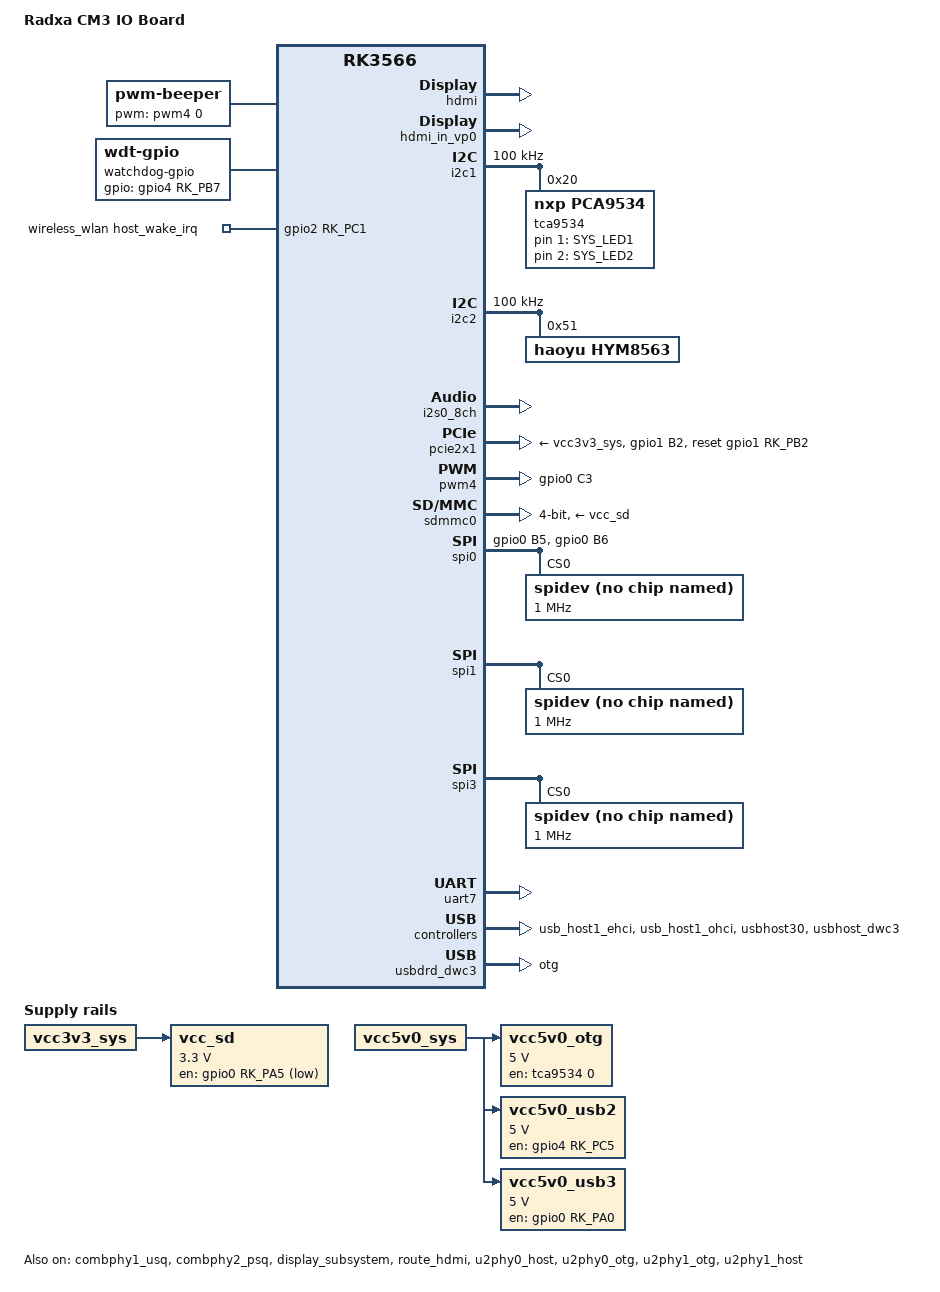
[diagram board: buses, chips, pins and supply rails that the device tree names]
// SPDX-License-Identifier: (GPL-2.0+ OR MIT)
/*
 * Copyright (c) 2024 Rockchip Electronics Co., Ltd.
 * Copyright (c) 2025 Radxa Computer (Shenzhen) Co., Ltd.
 *
 * Custom carrier for an unmodified Radxa CM3, pin requirements revision 2.
 * GPIO0_B1/B2 are the module's PMIC I2C bus and GPIO0_A2 is PMIC_SLEEP.
 * OTG VBUS enable and SYS_LED1/2 are wired to TCA9534 P0/P1/P2 on I2C1.
 */

/dts-v1/;

#include "rk3566-radxa-cm3.dtsi"

/delete-node/ &gpio_leds;
/delete-node/ &user_led_set;

/ {
	model = "Radxa CM3 IO Board";
	compatible = "radxa,cm3-io", "radxa,cm3", "rockchip,rk3566";

	aliases {
		rtc0 = &hym8563;
	};

	beeper {
		compatible = "pwm-beeper";
		pwms = <&pwm4 0 500000 0>;
	};

	hdmi_sound: hdmi-sound {
		compatible = "rockchip,hdmi";
		rockchip,mclk-fs = <128>;
		rockchip,card-name = "rockchip-hdmi";
		rockchip,cpu = <&i2s0_8ch>;
		rockchip,codec = <&hdmi>;
		rockchip,jack-det;
	};

	leds {
		compatible = "gpio-leds";

		led-1 {
			label = "SYS_LED1";
			gpios = <&tca9534 1 GPIO_ACTIVE_HIGH>;
			default-state = "off";
		};

		led-2 {
			label = "SYS_LED2";
			gpios = <&tca9534 2 GPIO_ACTIVE_HIGH>;
			default-state = "off";
		};
	};

	/* SD power switch polarity follows the supplied RC119 reference. */
	vcc_sd: sdmmc-regulator {
		compatible = "regulator-fixed";
		gpio = <&gpio0 RK_PA5 GPIO_ACTIVE_LOW>;
		pinctrl-names = "default";
		pinctrl-0 = <&sdmmc_pwren>;
		regulator-name = "vcc_sd";
		regulator-min-microvolt = <3300000>;
		regulator-max-microvolt = <3300000>;
		startup-delay-us = <100000>;
		vin-supply = <&vcc3v3_sys>;
	};

	vcc5v0_otg: vcc5v0-otg-regulator {
		compatible = "regulator-fixed";
		enable-active-high;
		gpio = <&tca9534 0 GPIO_ACTIVE_HIGH>;
		regulator-name = "vcc5v0_otg";
		regulator-min-microvolt = <5000000>;
		regulator-max-microvolt = <5000000>;
		vin-supply = <&vcc5v0_sys>;
	};

	vcc5v0_usb2: vcc5v0-usb2-regulator {
		compatible = "regulator-fixed";
		enable-active-high;
		gpio = <&gpio4 RK_PC5 GPIO_ACTIVE_HIGH>;
		pinctrl-names = "default";
		pinctrl-0 = <&usb2_power_en>;
		regulator-name = "vcc5v0_usb2";
		regulator-min-microvolt = <5000000>;
		regulator-max-microvolt = <5000000>;
		vin-supply = <&vcc5v0_sys>;
	};

	vcc5v0_usb3: vcc5v0-usb3-regulator {
		compatible = "regulator-fixed";
		enable-active-high;
		gpio = <&gpio0 RK_PA0 GPIO_ACTIVE_HIGH>;
		pinctrl-names = "default";
		pinctrl-0 = <&usb3_power_en>;
		regulator-name = "vcc5v0_usb3";
		regulator-min-microvolt = <5000000>;
		regulator-max-microvolt = <5000000>;
		vin-supply = <&vcc5v0_sys>;
	};

	watchdog-gpio {
		compatible = "linux,wdt-gpio";
		gpios = <&gpio4 RK_PB7 GPIO_ACTIVE_HIGH>;
		pinctrl-names = "default";
		pinctrl-0 = <&watchdog_pin>;
		hw_algo = "toggle";
		hw_margin_ms = <1000>;
		timeout-sec = <1>;
		/* Keep servicing WDI even when no userspace client is open. */
		always-running;
	};

	wireless_wlan: wireless-wlan {
		compatible = "wlan-platdata";
		rockchip,grf = <&grf>;
		wifi_chip_type = "cm256sm";
		pinctrl-names = "default";
		pinctrl-0 = <&wifi_host_wake_l>;
		WIFI,host_wake_irq = <&gpio2 RK_PC1 IRQ_TYPE_LEVEL_HIGH>;
		status = "okay";
	};
};

&combphy1_usq {
	status = "okay";
};

&combphy2_psq {
	status = "okay";
};

&display_subsystem {
	status = "okay";
};

&hdmi {
	preset_max_hdisplay = <1920>;
	preset_max_vdisplay = <1080>;
	preset_as_preferred;
	status = "okay";
};

&hdmi_in_vp0 {
	status = "okay";
};

&hdmi_in_vp1 {
	status = "disabled";
};

&i2c1 {
	clock-frequency = <100000>;
	pinctrl-names = "default";
	pinctrl-0 = <&i2c1_xfer>;
	status = "okay";

	tca9534: gpio@20 {
		/* TCA9534 uses the PCA9534 register layout. */
		compatible = "nxp,pca9534";
		reg = <0x20>;
		gpio-controller;
		#gpio-cells = <2>;
		gpio-line-names = "TCA9534_P0", "TCA9534_P1",
				  "TCA9534_P2", "TCA9534_P3",
				  "TCA9534_P4", "TCA9534_P5",
				  "TCA9534_P6", "TCA9534_P7";
		status = "okay";
	};
};

&i2c2 {
	clock-frequency = <100000>;
	pinctrl-names = "default";
	pinctrl-0 = <&i2c2m1_xfer>;
	status = "okay";

	hym8563: rtc@51 {
		compatible = "haoyu,hym8563";
		reg = <0x51>;
		#clock-cells = <0>;
		clock-output-names = "hym8563";
		/* INT is wired to PWRON_KEY, not a SoC interrupt input. */
	};

	/* ATECC608A at 0x60 is accessed by userspace through /dev/i2c-2. */
};

&i2s0_8ch {
	status = "okay";
};

&i2s1_8ch {
	status = "disabled";
};

&pcie2x1 {
	/* This BSP drives logical 0 to assert PERST# and 1 to release it. */
	reset-gpios = <&gpio1 RK_PB2 GPIO_ACTIVE_HIGH>;
	vpcie3v3-supply = <&vcc3v3_sys>;
	pinctrl-names = "default";
	pinctrl-0 = <&pcie_reset_pin>;
	/* CLKREQ# and WAKE# remain GPIO inputs; do not enable supports-clkreq. */
	status = "okay";
};

&pwm4 {
	pinctrl-names = "default", "active";
	pinctrl-0 = <&beeper_idle>;
	pinctrl-1 = <&pwm4_pins>;
	status = "okay";
};

&rk817 {
	rtc {
		status = "disabled";
	};
};

&rk817_codec {
	status = "disabled";
};

&route_hdmi {
	connect = <&vp0_out_hdmi>;
	status = "okay";
};

&sdmmc0 {
	max-frequency = <150000000>;
	supports-sd;
	bus-width = <4>;
	cap-mmc-highspeed;
	cap-sd-highspeed;
	disable-wp;
	sd-uhs-sdr104;
	vmmc-supply = <&vcc_sd>;
	vqmmc-supply = <&vccio_sd>;
	pinctrl-names = "default";
	pinctrl-0 = <&sdmmc0_bus4 &sdmmc0_clk &sdmmc0_cmd &sdmmc0_det>;
	status = "okay";
};

&spi0 {
	pinctrl-names = "default";
	pinctrl-0 = <&spi0m0_tx_only>;
	/delete-property/ pinctrl-1;
	num-cs = <1>;
	status = "okay";

	/* RFSA3513: userspace pulses LE after writing; no CS pad is muxed. */
	spidev@0 {
		compatible = "rockchip,spidev";
		reg = <0>;
		spi-max-frequency = <1000000>;
	};
};

&spi1 {
	pinctrl-names = "default", "high_speed";
	pinctrl-0 = <&spi1m1_cs0 &spi1m1_pins>;
	pinctrl-1 = <&spi1m1_cs0_hs &spi1m1_pins_hs>;
	num-cs = <1>;
	status = "okay";

	spidev@0 {
		compatible = "rockchip,spidev";
		reg = <0>;
		spi-max-frequency = <1000000>;
	};
};

&spi3 {
	pinctrl-names = "default", "high_speed";
	pinctrl-0 = <&spi3m0_cs0 &spi3m0_pins>;
	pinctrl-1 = <&spi3m0_cs0_hs &spi3m0_pins_hs>;
	num-cs = <1>;
	status = "okay";

	spidev@0 {
		compatible = "rockchip,spidev";
		reg = <0>;
		spi-max-frequency = <1000000>;
	};
};

&threshold {
	temperature = <60000>;
};

&u2phy0_host {
	phy-supply = <&vcc5v0_usb3>;
	status = "okay";
};

&u2phy0_otg {
	vbus-supply = <&vcc5v0_otg>;
	status = "okay";
};

&u2phy1_otg {
	phy-supply = <&vcc5v0_usb2>;
	status = "okay";
};

&u2phy1_host {
	status = "okay";
};

&uart7 {
	pinctrl-names = "default";
	pinctrl-0 = <&uart7m2_xfer>;
	status = "okay";
};

&usb_host1_ehci {
	status = "okay";
};

&usb_host1_ohci {
	status = "okay";
};

&usbdrd_dwc3 {
	dr_mode = "otg";
};

&usbhost30 {
	status = "okay";
};

&usbhost_dwc3 {
	status = "okay";
};

&pinctrl {
	/* Set initial levels without gpio-hogs, leaving application lines free. */
	pinctrl-names = "default";
	pinctrl-0 = <&carrier_outputs_low &carrier_outputs_high
		     &carrier_inputs &carrier_inputs_up &carrier_inputs_down
		     &tf_det_disable>;

	carrier_input: carrier-input {
		bias-pull-down;
		input-enable;
	};

	carrier_input_up: carrier-input-up {
		bias-pull-up;
		input-enable;
	};

	carrier_input_down: carrier-input-down {
		bias-pull-down;
		input-enable;
	};

	beeper {
		beeper_idle: beeper-idle {
			rockchip,pins = <0 RK_PC3 RK_FUNC_GPIO &pcfg_output_low_pull_none>;
		};
	};

	carrier {
		carrier_outputs_low: carrier-outputs-low {
			rockchip,pins =
				<3 RK_PB4 RK_FUNC_GPIO &pcfg_output_low_pull_none>, /* RX_ATT_SEL */
				<0 RK_PD5 RK_FUNC_GPIO &pcfg_output_low_pull_none>, /* GPIO1_RX_SEL */
				<0 RK_PD6 RK_FUNC_GPIO &pcfg_output_low_pull_none>, /* LO_ATT_SEL */
				<2 RK_PC6 RK_FUNC_GPIO &pcfg_output_low_pull_none>, /* RX_SEL_1 */
				<0 RK_PD3 RK_FUNC_GPIO &pcfg_output_low_pull_none>, /* RX_SEL_2 */
				<4 RK_PC6 RK_FUNC_GPIO &pcfg_output_low_pull_none>, /* RX_SEL_3 */
				<1 RK_PA4 RK_FUNC_GPIO &pcfg_output_low_pull_none>, /* ANT_SEL_1 */
				<1 RK_PA1 RK_FUNC_GPIO &pcfg_output_low_pull_none>, /* ANT_SEL_2 */
				<1 RK_PA0 RK_FUNC_GPIO &pcfg_output_low_pull_none>, /* ANT_SEL_3 */
				<3 RK_PD6 RK_FUNC_GPIO &pcfg_output_low_pull_none>, /* PWR_EN */
				<0 RK_PC4 RK_FUNC_GPIO &pcfg_output_low_pull_none>, /* POWER_EN */
				<4 RK_PC1 RK_FUNC_GPIO &pcfg_output_low_pull_none>, /* SYS_LED3 */
				<4 RK_PA4 RK_FUNC_GPIO &pcfg_output_low_pull_none>, /* GPIO_O1 */
				<0 RK_PC2 RK_FUNC_GPIO &pcfg_output_low_pull_none>, /* GPIO_O2 */
				<3 RK_PD1 RK_FUNC_GPIO &pcfg_output_low_pull_none>, /* GPIO_O3 */
				<3 RK_PD0 RK_FUNC_GPIO &pcfg_output_low_pull_none>, /* GPIO_O4 */
				<3 RK_PD2 RK_FUNC_GPIO &pcfg_output_low_pull_none>, /* GPIO_O5 */
				<4 RK_PA7 RK_FUNC_GPIO &pcfg_output_low_pull_none>, /* GPIO_O6 */
				<0 RK_PC5 RK_FUNC_GPIO &pcfg_output_low_pull_none>, /* GPIO_O7 */
				<4 RK_PC0 RK_FUNC_GPIO &pcfg_output_low_pull_none>, /* GPIO_O8 */
				<0 RK_PC6 RK_FUNC_GPIO &pcfg_output_low_pull_none>; /* LE */
		};

		carrier_outputs_high: carrier-outputs-high {
			rockchip,pins =
				<4 RK_PA1 RK_FUNC_GPIO &pcfg_output_high_pull_none>; /* E710_ENABLE */
		};

		carrier_inputs: carrier-inputs {
			rockchip,pins =
				<4 RK_PB1 RK_FUNC_GPIO &carrier_input>, /* GPIO_IN1 */
				<3 RK_PC6 RK_FUNC_GPIO &carrier_input>, /* GPIO_IN2 */
				<3 RK_PD3 RK_FUNC_GPIO &carrier_input>, /* GPIO_IN3 */
				<3 RK_PD4 RK_FUNC_GPIO &carrier_input>, /* GPIO_IN4 */
				<0 RK_PB7 RK_FUNC_GPIO &carrier_input>, /* GPIO_IN5 */
				<0 RK_PC7 RK_FUNC_GPIO &carrier_input>, /* GPIO_IN6 */
				<3 RK_PC7 RK_FUNC_GPIO &carrier_input>, /* GPIO_IN7 */
				<3 RK_PD5 RK_FUNC_GPIO &carrier_input>; /* GPIO_IN8 */
		};

		carrier_inputs_up: carrier-inputs-up {
			rockchip,pins =
				<4 RK_PC4 RK_FUNC_GPIO &carrier_input_up>, /* ANT_DET */
				<3 RK_PD7 RK_FUNC_GPIO &carrier_input_up>, /* READY_N */
				<4 RK_PA0 RK_FUNC_GPIO &carrier_input_up>, /* E710_RESET_N */
				<0 RK_PC1 RK_FUNC_GPIO &carrier_input_up>, /* IRQ_N */
				<1 RK_PB0 RK_FUNC_GPIO &carrier_input_up>, /* PCIE_CLKREQ_N */
				<1 RK_PB1 RK_FUNC_GPIO &carrier_input_up>; /* PCIE_WAKE_N */
		};

		carrier_inputs_down: carrier-inputs-down {
			rockchip,pins =
				<4 RK_PB6 RK_FUNC_GPIO &carrier_input_down>, /* RESET */
				<4 RK_PA5 RK_FUNC_GPIO &carrier_input_down>; /* BUTTON */
		};
	};

	gmac1 {
		gmac1m0_miim: gmac1m0-miim {
			rockchip,pins =
				/* gmac1_mdcm0 */
				<3 RK_PC4 3 &pcfg_pull_none_drv_level_15>,
				/* gmac1_mdiom0 */
				<3 RK_PC5 3 &pcfg_pull_none_drv_level_15>;
		};

		gmac1m0_rx_bus2: gmac1m0-rx-bus2 {
			rockchip,pins =
				/* gmac1_rxd0m0 */
				<3 RK_PB1 3 &pcfg_pull_none_drv_level_15>,
				/* gmac1_rxd1m0 */
				<3 RK_PB2 3 &pcfg_pull_none_drv_level_15>,
				/* gmac1_rxdvcrsm0 */
				<3 RK_PB3 3 &pcfg_pull_none_drv_level_15>;
		};

		gmac1m0_tx_bus2: gmac1m0-tx-bus2 {
			rockchip,pins =
				/* gmac1_txd0m0 */
				<3 RK_PB5 3 &pcfg_pull_none_drv_level_15>,
				/* gmac1_txd1m0 */
				<3 RK_PB6 3 &pcfg_pull_none_drv_level_15>,
				/* gmac1_txenm0 */
				<3 RK_PB7 3 &pcfg_pull_none_drv_level_15>;
		};

		gmac1m0_rgmii_clk: gmac1m0-rgmii-clk {
			rockchip,pins =
				/* gmac1_rxclkm0 */
				<3 RK_PA7 3 &pcfg_pull_none_drv_level_15>,
				/* gmac1_txclkm0 */
				<3 RK_PA6 3 &pcfg_pull_none_drv_level_15>;
		};

		gmac1m0_rgmii_bus: gmac1m0-rgmii-bus {
			rockchip,pins =
				/* gmac1_rxd2m0 */
				<3 RK_PA4 3 &pcfg_pull_none_drv_level_15>,
				/* gmac1_rxd3m0 */
				<3 RK_PA5 3 &pcfg_pull_none_drv_level_15>,
				/* gmac1_txd2m0 */
				<3 RK_PA2 3 &pcfg_pull_none_drv_level_15>,
				/* gmac1_txd3m0 */
				<3 RK_PA3 3 &pcfg_pull_none_drv_level_15>;
		};

		gmac1m0_clkinout: gmac1m0-clkinout {
			rockchip,pins =
				/* gmac1_mclkinoutm0 */
				<3 RK_PC0 3 &pcfg_pull_none_drv_level_15>;
		};
	};

	pcie {
		pcie_reset_pin: pcie-reset-pin {
			rockchip,pins = <1 RK_PB2 RK_FUNC_GPIO &pcfg_pull_none>;
		};
	};

	sdcard {
		sdmmc_pwren: sdmmc-pwren {
			rockchip,pins = <0 RK_PA5 RK_FUNC_GPIO &pcfg_pull_none>;
		};

		tf_det_disable: tf-det-disable {
			rockchip,pins = <0 RK_PD4 RK_FUNC_GPIO &pcfg_output_low_pull_none>;
		};
	};

	spi0 {
		spi0m0_tx_only: spi0m0-tx-only {
			rockchip,pins = <0 RK_PB5 2 &pcfg_pull_none>,
				       <0 RK_PB6 2 &pcfg_pull_none>;
		};
	};

	usb {
		usb2_power_en: usb2-power-en {
			rockchip,pins = <4 RK_PC5 RK_FUNC_GPIO &pcfg_pull_none>;
		};

		usb3_power_en: usb3-power-en {
			rockchip,pins = <0 RK_PA0 RK_FUNC_GPIO &pcfg_pull_none>;
		};
	};

	watchdog {
		watchdog_pin: watchdog-pin {
			rockchip,pins = <4 RK_PB7 RK_FUNC_GPIO &pcfg_pull_none>;
		};
	};
};
